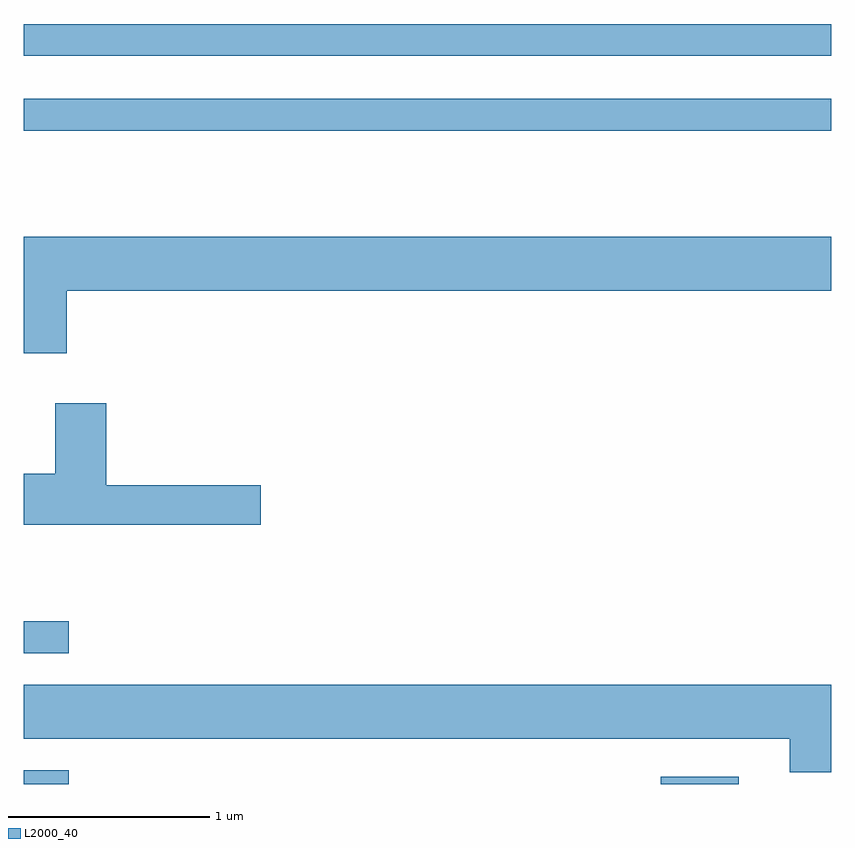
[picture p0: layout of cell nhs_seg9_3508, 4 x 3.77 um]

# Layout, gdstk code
import gdstk
lib = gdstk.Library(unit=1e-6, precision=1e-09)
def R(c, l, rs):  # rectangles x0, y0, x1, y1
    for r in rs: c.add(gdstk.rectangle(r[:2], r[2:], *l))
def P(c, l, *ps):  # polygons
    for p in ps: c.add(gdstk.Polygon(p, *l))
L2000_40 = (2000, 40)

nhs_seg9_3508 = lib.new_cell('nhs_seg9_3508')
R(nhs_seg9_3508, L2000_40, [(287.611,2040.432,287.833,2040.499), (290.766,2040.432,291.153,2040.469), (287.611,2041.081,287.833,2041.239), (287.611,2043.671,291.611,2043.829), (287.611,2044.041,291.611,2044.199)])
P(nhs_seg9_3508, L2000_40, [(287.824,2042.876),(291.611,2042.876),(291.611,2043.144),(287.611,2043.144),(287.611,2042.566),(287.824,2042.566)],
  [(288.784,2041.914),(288.019,2041.914),(288.019,2042.319),(287.766,2042.319),(287.766,2041.969),(287.611,2041.969),(287.611,2041.716),(288.784,2041.716)],
  [(291.611,2040.924),(287.611,2040.924),(287.611,2040.656),(291.406,2040.656),(291.406,2040.491),(291.611,2040.491)])

lib.write_gds('nhs_seg9_3508.gds')
